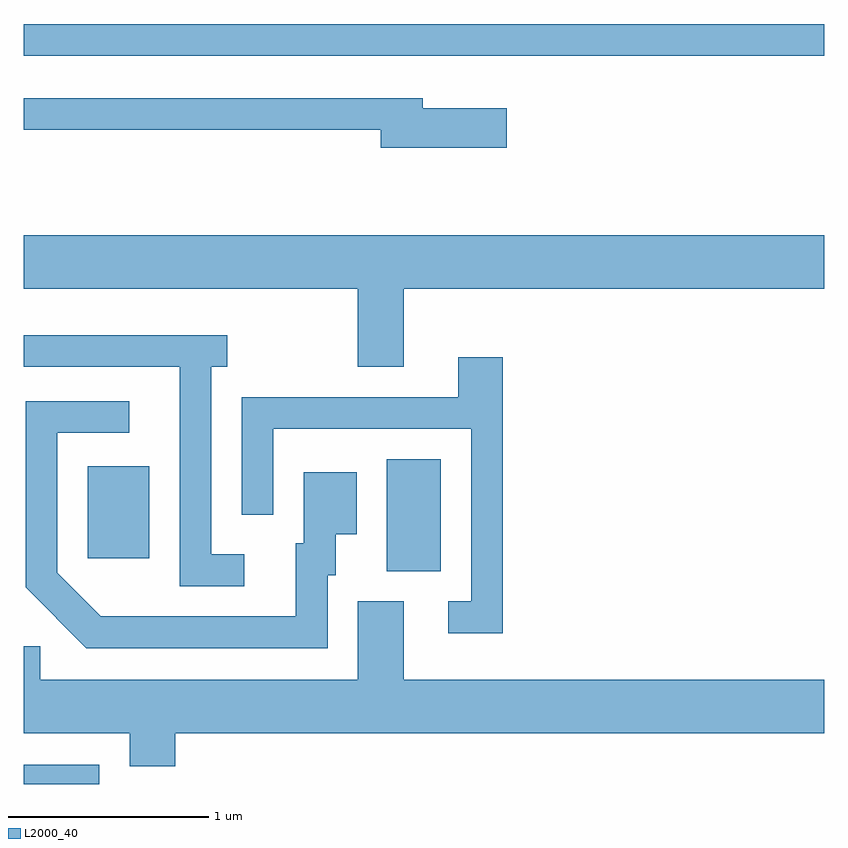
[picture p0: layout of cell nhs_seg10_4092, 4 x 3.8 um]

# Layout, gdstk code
import gdstk
lib = gdstk.Library(unit=1e-6, precision=1e-09)
def R(c, l, rs):  # rectangles x0, y0, x1, y1
    for r in rs: c.add(gdstk.rectangle(r[:2], r[2:], *l))
def P(c, l, *ps):  # polygons
    for p in ps: c.add(gdstk.Polygon(p, *l))
L2000_40 = (2000, 40)

nhs_seg10_4092 = lib.new_cell('nhs_seg10_4092')
R(nhs_seg10_4092, L2000_40, [(305.611,2142.522,305.989,2142.619), (307.426,2143.586,307.694,2144.144), (305.931,2143.651,306.239,2144.109), (305.611,2146.161,309.611,2146.319)])
P(nhs_seg10_4092, L2000_40, [(308.024,2145.899),(307.604,2145.899),(307.604,2145.949),(305.611,2145.949),(305.611,2145.791),(307.396,2145.791),(307.396,2145.701),(308.024,2145.701)],
  [(307.509,2144.996),(309.611,2144.996),(309.611,2145.264),(305.611,2145.264),(305.611,2144.996),(307.281,2144.996),(307.281,2144.606),(307.509,2144.606)],
  [(306.713,2143.669),(306.549,2143.669),(306.549,2144.606),(306.628,2144.606),(306.628,2144.764),(305.611,2144.764),(305.611,2144.606),(306.391,2144.606),(306.391,2143.511),(306.713,2143.511)],
  [(308.004,2144.654),(307.781,2144.654),(307.781,2144.454),(306.701,2144.454),(306.701,2143.868),(306.859,2143.868),(306.859,2144.296),(307.846,2144.296),(307.846,2143.434),(307.733,2143.434),(307.733,2143.276),(308.004,2143.276)],
  [(307.129,2143.566),(307.169,2143.566),(307.169,2143.771),(307.274,2143.771),(307.274,2144.079),(307.011,2144.079),(307.011,2143.724),(306.971,2143.724),(306.971,2143.359),(305.997,2143.359),(305.779,2143.577),(305.779,2144.276),(306.138,2144.276),(306.138,2144.434),(305.621,2144.434),(305.621,2143.504),(305.924,2143.201),(307.129,2143.201)],
  [(306.369,2142.776),(309.611,2142.776),(309.611,2143.044),(307.509,2143.044),(307.509,2143.434),(307.281,2143.434),(307.281,2143.044),(305.694,2143.044),(305.694,2143.209),(305.611,2143.209),(305.611,2142.776),(306.141,2142.776),(306.141,2142.611),(306.369,2142.611)])

lib.write_gds('nhs_seg10_4092.gds')
